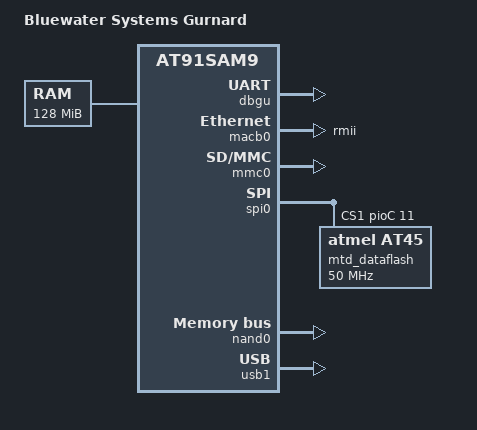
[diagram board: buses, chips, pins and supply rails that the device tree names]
/*
 * at91sam9g20ek.dts - Device Tree file for Atmel at91sam9g20ek board
 *
 * Copyright (C) 2012 Jean-Christophe PLAGNIOL-VILLARD <plagnioj@jcrosoft.com>
 *
 * Licensed under GPLv2.
 */
/dts-v1/;
#include "at91sam9g45.dtsi"

/ {
	model = "Bluewater Systems Gurnard";
	compatible = "atmel,at91sam9g45", "atmel,at91sam9";

	chosen {
		bootargs = "mem=64M root=/dev/mtdblock5 rw rootfstype=ubifs";
		stdout-path = "serial0:115200n8";
	};

	memory {
		reg = <0x20000000 0x8000000>;
	};

	clocks {
		slow_xtal {
			clock-frequency = <32768>;
		};

		main_xtal {
			clock-frequency = <18432000>;
		};
	};

	ahb {
		u-boot,dm-pre-reloc;

		fb@0x00500000 {
			u-boot,dm-pre-reloc;
			status = "okay";
			display-timings {
				rev1 {
					clock-frequency = <4166666>;
					hactive = <480>;
					vactive = <272>;
					hfront-porch = <1>;
					hback-porch = <1>;
					hsync-len = <1>;
					vback-porch = <4>;
					vfront-porch = <2>;
					vsync-len = <1>;
					hsync-active = <0>;
					vsync-active = <0>;
				};

				rev2 {
					clock-frequency = <4166666>;
					hactive = <480>;
					vactive = <272>;
					hfront-porch = <2>;
					hback-porch = <2>;
					hsync-len = <10>;
					vback-porch = <2>;
					vfront-porch = <2>;
					vsync-len = <10>;
					hsync-active = <0>;
					vsync-active = <0>;
				};
			};
		};

		apb {
			pinctrl@fffff400 {
				board {
					pinctrl_pck0_as_mck: pck0_as_mck {
						atmel,pins =
							<AT91_PIOC 1 AT91_PERIPH_B AT91_PINCTRL_NONE>;	/* PC1 periph B */
					};

				};

				mmc0_slot1 {
					pinctrl_board_mmc0_slot1: mmc0_slot1-board {
						atmel,pins =
							<AT91_PIOC 9 AT91_PERIPH_GPIO AT91_PINCTRL_PULL_UP_DEGLITCH>;	/* PC9 gpio CD pin pull up and deglitch */
					};
				};
			};

			dbgu: serial@ffffee00 {
				status = "okay";
			};

			macb0: ethernet@fffbc000 {
				phy-mode = "rmii";
				status = "okay";
			};

			mmc0: mmc@fff80000 {
				pinctrl-0 = <
					&pinctrl_board_mmc0_slot1
					&pinctrl_mmc0_slot0_clk_cmd_dat0
					&pinctrl_mmc0_slot0_dat1_3>;
				status = "okay";
				slot@1 {
					reg = <1>;
					bus-width = <4>;
					cd-gpios = <&pioC 9 GPIO_ACTIVE_HIGH>;
				};
			};

			ssc0: ssc@fff9c000 {
				status = "okay";
				pinctrl-0 = <&pinctrl_ssc0_tx>;
			};

			spi0: spi@fffa4000 {
				cs-gpios = <0>, <&pioC 11 0>, <0>, <0>;
				mtd_dataflash@0 {
					compatible = "atmel,at45", "atmel,dataflash";
					spi-max-frequency = <50000000>;
					reg = <1>;
				};
			};

			shdwc@fffffd10 {
				atmel,wakeup-counter = <10>;
				atmel,wakeup-rtt-timer;
			};

			rtc@fffffd20 {
				atmel,rtt-rtc-time-reg = <&gpbr 0x0>;
				status = "okay";
			};

			watchdog@fffffd40 {
				status = "okay";
			};

			gpbr: syscon@fffffd60 {
				status = "okay";
			};
		};

		nand0: nand@40000000 {
			nand-bus-width = <8>;
			nand-ecc-mode = "hardware";
			nand-on-flash-bbt;
			status = "okay";
		};

		usb1: ehci@00800000 {
			atmel,vbus-gpio = <&pioC 5 GPIO_ACTIVE_HIGH>;
			status = "okay";
		};
	};

};
